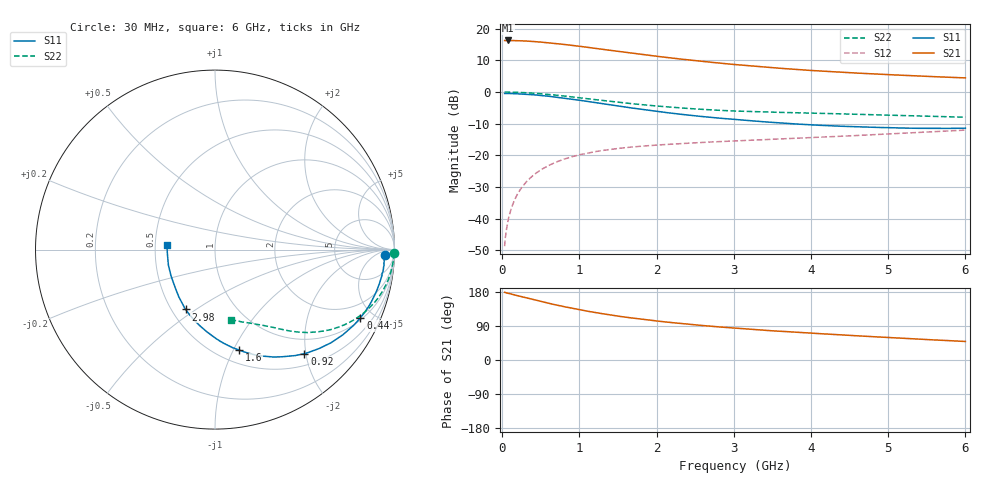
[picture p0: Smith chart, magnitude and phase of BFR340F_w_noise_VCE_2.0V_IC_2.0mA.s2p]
! Infineon Technologies  Discrete & RF Semiconductors
! BFR340F
! VCE =  2.0 V,  IC =  2.0 mA
! Common Emitter S-Parameters:  Nov 2015
# GHz  S  MA  R  50
!  f  S11  S21  S12  S22
! GHz  MAG  ANG  MAG  ANG  MAG  ANG  MAG  ANG
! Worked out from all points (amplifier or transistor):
!   206 points, 30 MHz to 6 GHz, reference 50 ohm
!   highest |S21| = 16.2 dB at 70 MHz (marker M1)
!   |S21| within 3 dB of that: start of sweep to 1.363 GHz
!   unconditionally stable (mu >= 1): 4.578 GHz to end of sweep
!   at 200 MHz: K = 0.06, MSG = 24.1 dB, |S12| = -32.1 dB
!   at 1.56 GHz: K = 0.50, MSG = 15.1 dB, |S12| = -17.7 dB
!   at 6 GHz: K = 1.04, MAG = 7.1 dB, |S12| = -12.0 dB
!   lowest NFmin = 0.79 dB at 450 MHz
!   S11 on the Smith chart (normalised r, x): 30 MHz: 28, -15; 440 MHz: 1.11, -4.22; 920 MHz: 0.71, -1.97; 1.6 GHz: 0.63, -1.05; 2.98 GHz: 0.59, -0.45; 6 GHz: 0.58, +0.03
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0.03  0.9458 -1.7  6.473 178.7  0.0037 88.1  0.9963 -1.1
0.05  0.9473 -3.0  6.44 176.9  0.0063 88.8  0.9958 -1.9
0.06  0.9439 -3.5  6.433 176.6  0.0075 87.7  0.9959 -2.3
0.07  0.945 -4.1  6.49 176.0  0.0087 87.6  0.9958 -2.6
0.13  0.9436 -7.6  6.46 173.4  0.0162 85.4  0.9927 -4.9
0.2  0.9351 -11.8  6.441 169.6  0.0249 83.0  0.9865 -7.6
0.32  0.9182 -18.5  6.341 163.4  0.0392 78.8  0.971 -12.0
0.44  0.8949 -25.1  6.197 157.4  0.0527 75.0  0.95 -16.2
0.6  0.8565 -33.6  5.97 149.6  0.0692 70.2  0.9147 -21.4
0.7  0.8288 -38.8  5.804 145.1  0.0786 67.4  0.89 -24.4
0.92  0.7643 -49.3  5.403 135.8  0.0964 62.1  0.8317 -30.4
1.04  0.728 -54.5  5.179 131.2  0.1046 59.6  0.8 -33.2
1.3  0.654 -65.3  4.706 122.1  0.1196 55.0  0.7344 -38.6
1.6  0.5756 -76.6  4.213 112.9  0.1326 51.1  0.6678 -43.6
2.02  0.4922 -89.9  3.629 102.5  0.1459 47.9  0.5975 -48.7
2.42  0.4306 -101.7  3.196 94.2  0.1561 46.2  0.5481 -52.6
2.98  0.3716 -116.2  2.73 84.5  0.1682 45.5  0.5023 -57.2
3.1  0.3613 -118.7  2.652 82.9  0.1707 45.6  0.4966 -58.0
3.5  0.3312 -127.6  2.41 77.0  0.179 45.8  0.4797 -60.4
4.1  0.2985 -140.1  2.147 69.7  0.1929 46.9  0.4613 -63.2
5.1  0.2714 -163.8  1.853 58.3  0.22 48.7  0.4273 -70.2
6  0.2685 175.1  1.666 48.9  0.2505 50.0  0.3997 -77.4
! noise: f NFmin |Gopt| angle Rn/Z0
0.45  0.79  0.7  4  0.44
0.9  0.8  0.67  13  0.47
1.9  1.11  0.54  23  0.41
2.4  1.2  0.51  33  0.4
